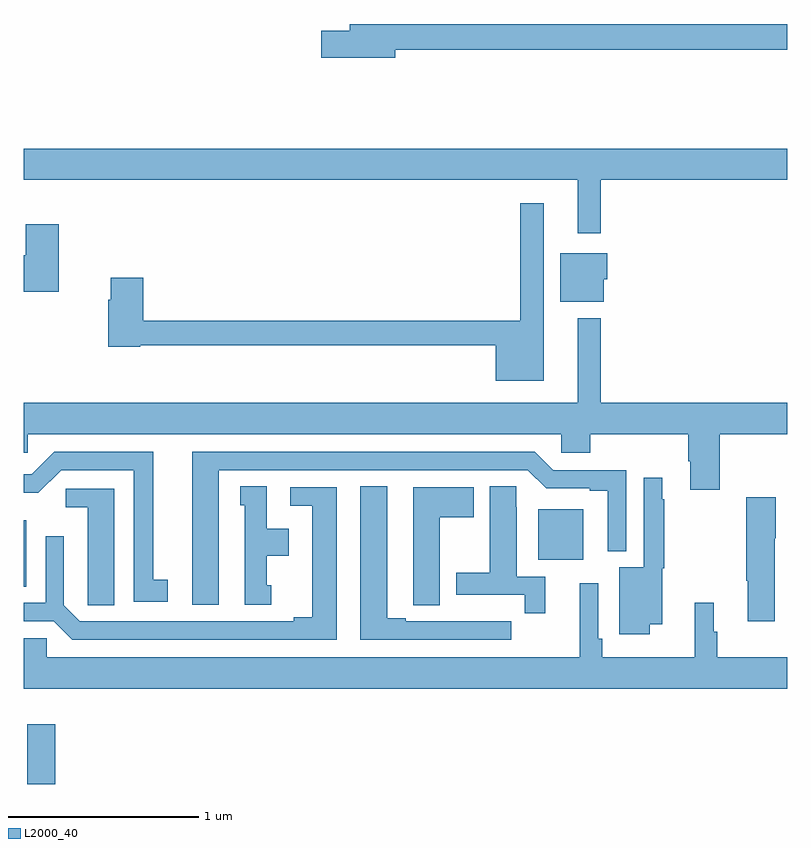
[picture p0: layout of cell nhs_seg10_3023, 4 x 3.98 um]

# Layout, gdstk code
import gdstk
lib = gdstk.Library(unit=1e-6, precision=1e-09)
def R(c, l, rs):  # rectangles x0, y0, x1, y1
    for r in rs: c.add(gdstk.rectangle(r[:2], r[2:], *l))
def P(c, l, *ps):  # polygons
    for p in ps: c.add(gdstk.Polygon(p, *l))
L2000_40 = (2000, 40)

nhs_seg10_3023 = lib.new_cell('nhs_seg10_3023')
R(nhs_seg10_3023, L2000_40, [(275.018,1282.5,275.165,1282.813), (275,1283.533,275.014,1283.881), (277.694,1283.675,277.93,1283.938)])
P(nhs_seg10_3023, L2000_40, [(276.946,1286.344),(279,1286.344),(279,1286.48),(276.707,1286.48),(276.707,1286.444),(276.558,1286.444),(276.558,1286.302),(276.946,1286.302)],
  [(278.023,1285.664),(279,1285.664),(279,1285.828),(275,1285.828),(275,1285.664),(277.901,1285.664),(277.901,1285.383),(278.023,1285.383)],
  [(277.723,1285.54),(277.602,1285.54),(277.602,1284.926),(275.627,1284.926),(275.627,1285.15),(275.456,1285.15),(275.456,1285.037),(275.444,1285.037),(275.444,1284.79),(275.61,1284.79),(275.61,1284.798),(277.472,1284.798),(277.472,1284.611),(277.723,1284.611)],
  [(275.183,1285.432),(275.012,1285.432),(275.012,1285.27),(275,1285.27),(275,1285.079),(275.183,1285.079)],
  [(278.038,1285.143),(278.056,1285.143),(278.056,1285.279),(277.811,1285.279),(277.811,1285.025),(278.038,1285.025)],
  [(278.645,1284.332),(279,1284.332),(279,1284.496),(278.023,1284.496),(278.023,1284.94),(277.901,1284.94),(277.901,1284.496),(275,1284.496),(275,1284.234),(275.022,1284.234),(275.022,1284.332),(277.815,1284.332),(277.815,1284.234),(277.967,1284.234),(277.967,1284.332),(278.48,1284.332),(278.48,1284.19),(278.492,1284.19),(278.492,1284.042),(278.645,1284.042)],
  [(275.755,1283.57),(275.68,1283.57),(275.68,1284.24),(275.16,1284.24),(275.043,1284.123),(275,1284.123),(275,1284.026),(275.078,1284.026),(275.196,1284.144),(275.576,1284.144),(275.576,1283.454),(275.755,1283.454)],
  [(276.022,1284.144),(277.641,1284.144),(277.737,1284.048),(277.964,1284.048),(277.964,1284.036),(278.06,1284.036),(278.06,1283.72),(278.157,1283.72),(278.157,1284.144),(277.773,1284.144),(277.677,1284.24),(275.882,1284.24),(275.882,1283.439),(276.022,1283.439)],
  [(278.278,1283.336),(278.344,1283.336),(278.344,1283.631),(278.356,1283.631),(278.356,1283.99),(278.344,1283.99),(278.344,1284.103),(278.247,1284.103),(278.247,1283.635),(278.12,1283.635),(278.12,1283.283),(278.278,1283.283)],
  [(277.555,1283.352),(277.442,1283.352),(277.442,1283.353),(277.276,1283.353),(277.276,1283.352),(277,1283.352),(277,1283.367),(276.904,1283.367),(276.904,1284.059),(276.764,1284.059),(276.764,1283.256),(277.555,1283.256)],
  [(277.733,1283.586),(277.582,1283.586),(277.582,1283.948),(277.581,1283.948),(277.581,1284.059),(277.442,1284.059),(277.442,1283.607),(277.265,1283.607),(277.265,1283.49),(277.624,1283.49),(277.624,1283.394),(277.733,1283.394)],
  [(276.298,1283.541),(276.274,1283.541),(276.274,1283.696),(276.388,1283.696),(276.388,1283.836),(276.274,1283.836),(276.274,1284.059),(276.134,1284.059),(276.134,1283.961),(276.158,1283.961),(276.158,1283.439),(276.298,1283.439)],
  [(277.18,1283.896),(277.357,1283.896),(277.357,1284.055),(277.04,1284.055),(277.04,1283.545),(277.041,1283.545),(277.041,1283.437),(277.18,1283.437)],
  [(276.64,1284.054),(276.396,1284.054),(276.396,1283.958),(276.512,1283.958),(276.512,1283.372),(276.416,1283.372),(276.416,1283.352),(275.295,1283.352),(275.211,1283.436),(275.211,1283.797),(275.115,1283.797),(275.115,1283.448),(275,1283.448),(275,1283.352),(275.159,1283.352),(275.255,1283.256),(276.64,1283.256)],
  [(275.476,1284.045),(275.22,1284.045),(275.22,1283.948),(275.336,1283.948),(275.336,1283.545),(275.337,1283.545),(275.337,1283.437),(275.476,1283.437)],
  [(278.934,1283.788),(278.939,1283.788),(278.939,1284.001),(278.785,1284.001),(278.785,1283.564),(278.792,1283.564),(278.792,1283.352),(278.934,1283.352)],
  [(279,1283.164),(278.633,1283.164),(278.633,1283.298),(278.614,1283.298),(278.614,1283.449),(278.515,1283.449),(278.515,1283.164),(278.03,1283.164),(278.03,1283.26),(278.01,1283.26),(278.01,1283.551),(277.913,1283.551),(277.913,1283.164),(275.121,1283.164),(275.121,1283.262),(275,1283.262),(275,1283),(279,1283)])

lib.write_gds('nhs_seg10_3023.gds')
